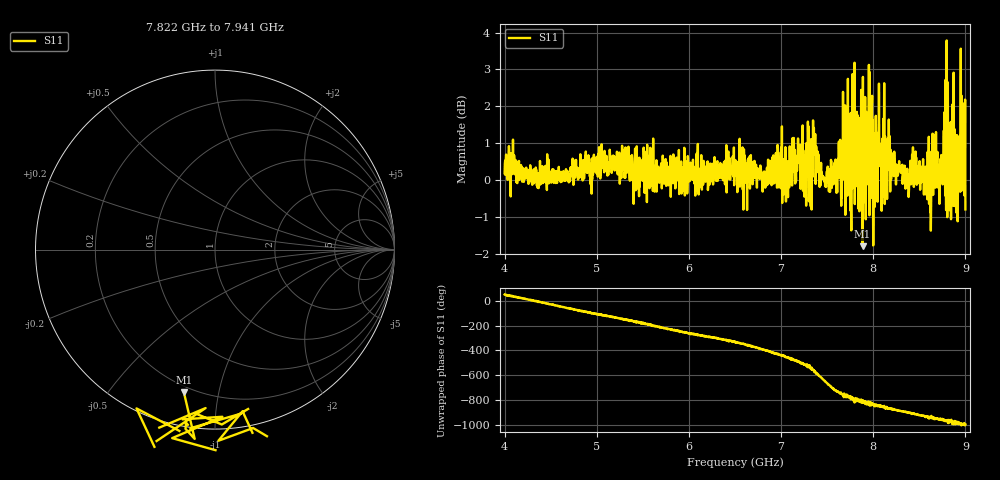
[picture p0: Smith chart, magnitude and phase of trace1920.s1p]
! Created with skrf 1.8.0 (http://scikit-rf.org).
# Hz S RI R 50.0
!freq ReS11 ImS11
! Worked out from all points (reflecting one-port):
!   1601 points, 4 GHz to 9 GHz, reference 50 ohm
!   lowest |S11| = -1.8 dB at 7.884 GHz (marker M1), VSWR 9.71, Z = 8.43 - j39.6 ohm
!   phase of S11 starts at 52 deg and turns -1049 deg over the sweep
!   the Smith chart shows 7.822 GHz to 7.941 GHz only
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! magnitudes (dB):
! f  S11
! 4 GHz  0.2
! 4.625 GHz  0.0
! 5.25 GHz  -0.1
! 5.875 GHz  0.2
! 6.5 GHz  0.3
! 7.038 GHz  0.1
! 7.125 GHz  1.1
! 7.325 GHz  1.1
! 7.372 GHz  1.2
! 7.438 GHz  0.0
! 7.512 GHz  0.2
! 7.75 GHz  -0.8
! 7.822 GHz  1.9
! 7.859 GHz  1.7
! 7.884 GHz  -1.8
! 7.928 GHz  1.6
! 7.981 GHz  -0.5
! 8.05 GHz  1.0
! 8.375 GHz  0.1
! 8.441 GHz  -0.2
! 8.603 GHz  1.2
! 8.669 GHz  1.2
! 8.728 GHz  0.3
! 8.784 GHz  2.7
! 8.903 GHz  1.1
! 8.959 GHz  2.3
! 8.972 GHz  0.4
! 9 GHz  -0.8
